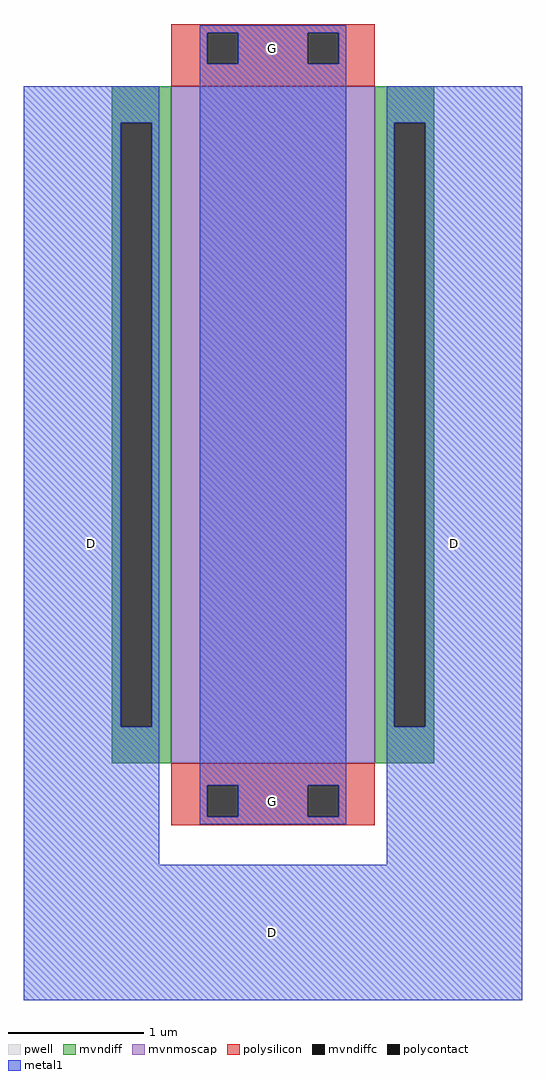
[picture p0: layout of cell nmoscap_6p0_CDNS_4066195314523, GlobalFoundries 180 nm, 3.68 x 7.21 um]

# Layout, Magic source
magic
tech gf180mcuD
magscale 1 10
<< pwell >>
rect -88 0 388 1000
<< mvndiff >>
rect -88 946 0 1000
rect -88 54 -75 946
rect -29 54 0 946
rect -88 0 0 54
rect 300 946 388 1000
rect 300 54 329 946
rect 375 54 388 946
rect 300 0 388 54
<< mvndiffc >>
rect -75 54 -29 946
rect 329 54 375 946
<< mvnmoscap >>
rect 0 0 300 1000
<< polysilicon >>
rect 0 1079 300 1092
rect 0 1033 53 1079
rect 99 1033 201 1079
rect 247 1033 300 1079
rect 0 1000 300 1033
rect 0 -33 300 0
rect 0 -79 53 -33
rect 99 -79 201 -33
rect 247 -79 300 -33
rect 0 -92 300 -79
<< polycontact >>
rect 53 1033 99 1079
rect 201 1033 247 1079
rect 53 -79 99 -33
rect 201 -79 247 -33
<< metal1 >>
rect 42 1079 258 1090
rect 42 1033 53 1079
rect 99 1033 201 1079
rect 247 1033 258 1079
rect -218 946 -18 1000
rect -218 54 -75 946
rect -29 54 -18 946
rect -218 -150 -18 54
rect 42 -33 258 1033
rect 42 -79 53 -33
rect 99 -79 201 -33
rect 247 -79 258 -33
rect 42 -90 258 -79
rect 318 946 518 1000
rect 318 54 329 946
rect 375 54 518 946
rect 318 -150 518 54
rect -218 -350 518 -150
<< labels >>
rlabel metal1 150 -250 150 -250 4 D
rlabel metal1 418 325 418 325 4 D
rlabel metal1 -118 325 -118 325 4 D
rlabel metal1 150 1056 150 1056 4 G
rlabel metal1 150 -56 150 -56 4 G
<< end >>
